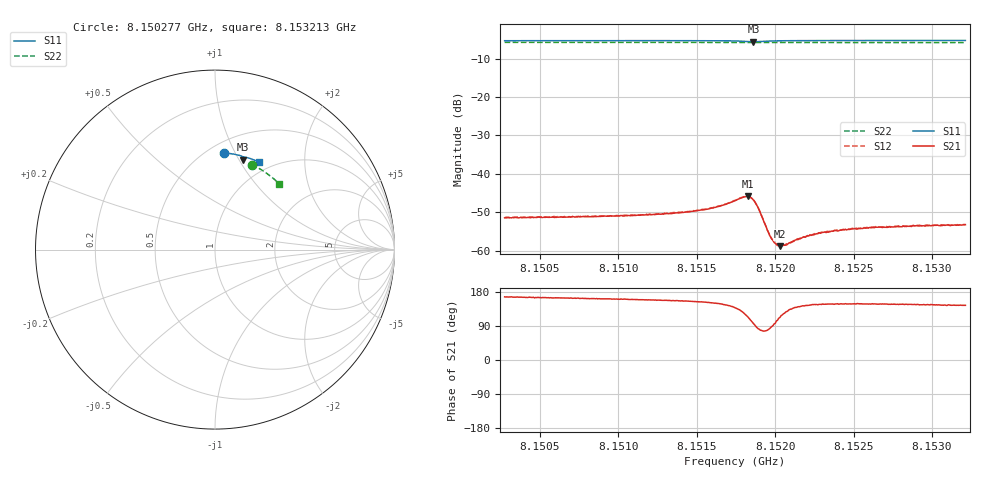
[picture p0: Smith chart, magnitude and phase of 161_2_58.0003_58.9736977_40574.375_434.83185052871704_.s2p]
#  HZ  S  RI  R  50.00
! Rohde & Schwarz Vector Network Analyzer
! Rohde-Schwarz,ZNB20-2Port,1311601062101988,3.16
! Created: UTC 3/21/2024, 12:57:26 AM
! freq[Hz]  re:S11  im:S11  re:S21  im:S21  re:S12  im:S12  re:S22  im:S22
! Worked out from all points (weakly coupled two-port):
!   401 points, 8.150277 GHz to 8.153213 GHz, reference 50 ohm
!   highest |S21| = -45.90 dB at 8.151826 GHz (marker M1); lowest = -58.9 dB at 8.152031 GHz (marker M2)
!   lowest |S11| = -5.6 dB at 8.151862 GHz (marker M3), VSWR 3.21, Z = 37.4 + j51.8 ohm
!   |S11| at or under -10 dB: nowhere
!   |S22| runs from -5.8 to -5.8 dB; largest |S21 - S12| = 0.00014
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8.1502769e9  0.051 0.5387  -0.0026 0.000618  -0.00261 0.000676  0.2041 0.4733
8.1507687e9  0.0856 0.535  -0.00262 0.000824  -0.00263 0.000879  0.2326 0.4591
8.1512604e9  0.1204 0.5289  -0.00277 0.00111  -0.00278 0.00119  0.2602 0.4434
8.1515614e9  0.1427 0.5229  -0.00306 0.00159  -0.00306 0.00166  0.2766 0.4329
8.1516568e9  0.1505 0.5195  -0.00326 0.00204  -0.00323 0.00208  0.2817 0.4294
8.1517449e9  0.1578 0.5139  -0.00333 0.00298  -0.00331 0.00306  0.2862 0.4261
8.1517889e9  0.1601 0.5086  -0.00301 0.00384  -0.00297 0.00392  0.2884 0.4242
8.1518256e9  0.1587 0.5034  -0.00209 0.00462  -0.002 0.00466  0.2901 0.4229
8.1518403e9  0.1569 0.502  -0.00147 0.00474  -0.00141 0.00479  0.2908 0.4222
8.1518623e9  0.1535 0.5016  -0.000452 0.00453  -0.000403 0.00459  0.2918 0.4217
8.1518917e9  0.1502 0.5047  0.000453 0.00361  0.000529 0.00361  0.2932 0.4207
8.1519577e9  0.1537 0.5128  0.000279 0.0017  0.000292 0.00171  0.2967 0.4185
8.1519798e9  0.1559 0.5139  4.15e-05 0.0014  4.66e-05 0.00142  0.298 0.4178
8.1520018e9  0.1582 0.5146  -0.000156 0.00123  -0.000174 0.00124  0.2991 0.4168
8.1520311e9  0.1614 0.5152  -0.000434 0.00105  -0.000429 0.00107  0.3006 0.4158
8.1520678e9  0.1649 0.5152  -0.000701 0.000946  -0.000712 0.000974  0.3025 0.4144
8.1521559e9  0.1726 0.5143  -0.00111 0.000914  -0.00111 0.000896  0.3072 0.4109
8.1522367e9  0.1789 0.5128  -0.00132 0.000885  -0.00131 0.000943  0.3113 0.4078
8.1522954e9  0.1834 0.5115  -0.00142 0.000934  -0.00146 0.00095  0.3142 0.4054
8.1525009e9  0.1979 0.507  -0.00163 0.00101  -0.00163 0.00107  0.3243 0.3969
8.1527285e9  0.2133 0.5012  -0.00172 0.00111  -0.00172 0.00113  0.3352 0.3873
8.1532129e9  0.2445 0.4876  -0.00176 0.00127  -0.00176 0.0013  0.3576 0.366
